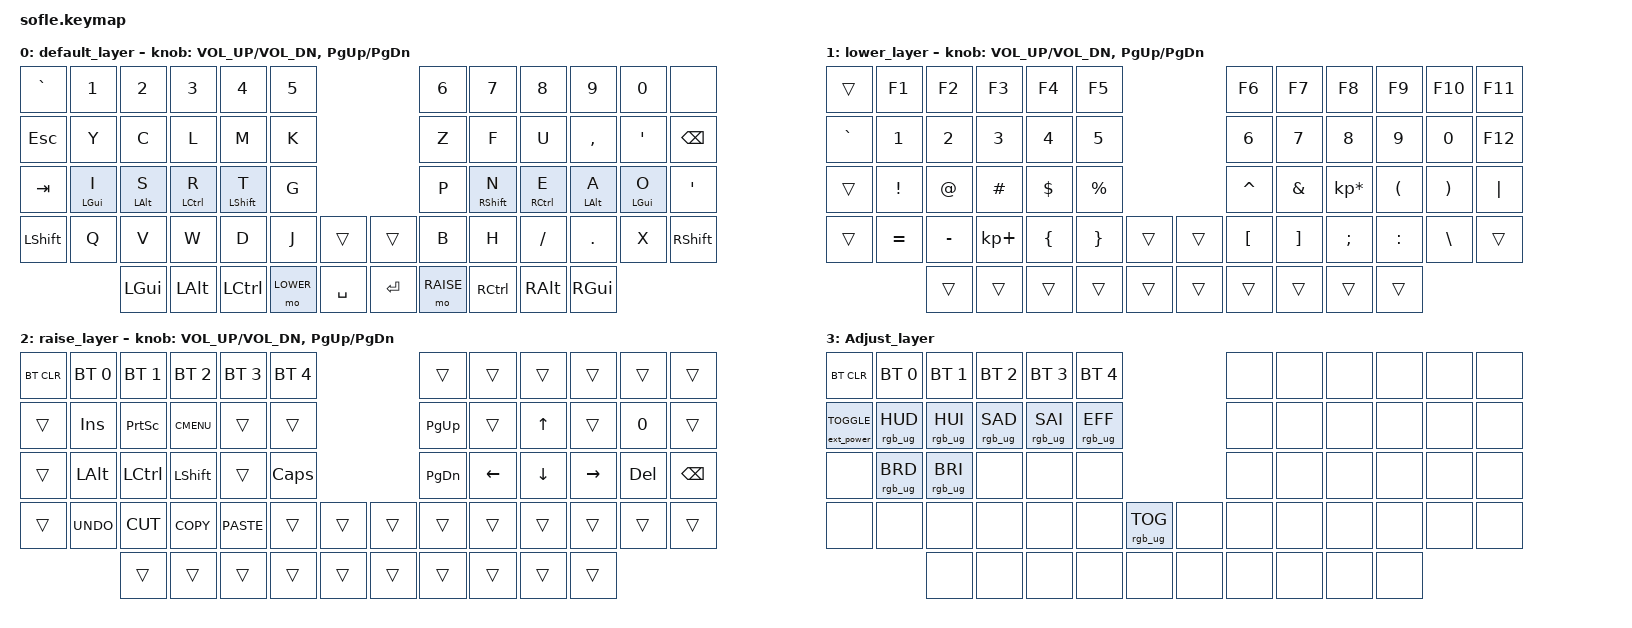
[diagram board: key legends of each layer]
/*
 * Copyright (c) 2020 The ZMK Contributors
 *
 * SPDX-License-Identifier: MIT
 */

#include <behaviors.dtsi>
#include <dt-bindings/zmk/keys.h>
#include <dt-bindings/zmk/bt.h>
#include <dt-bindings/zmk/rgb.h>
#include <dt-bindings/zmk/ext_power.h>

#define BASE 0
#define LOWER 1
#define RAISE 2
#define ADJUST 3

/ {

   // Activate ADJUST layer by pressing raise and lower
    conditional_layers {
        compatible = "zmk,conditional-layers";
        adjust_layer {
            if-layers = <LOWER RAISE>;
            then-layer = <ADJUST>;
        };
    };
    
    behaviors {
        hm: homerow_mods {
            compatible = "zmk,behavior-hold-tap";
            label = "homerow mods";
            #binding-cells = <2>;
            tapping_term_ms = <200>;
            flavor = "tap-preferred";
            bindings = <&kp>, <&kp>;
        };
    };

    keymap {
        compatible = "zmk,keymap";

        default_layer {
// ------------------------------------------------------------------------------------------------------------
// |  `    |  1  |  2  |  3   |  4   |  5   |                   |  6   |  7    |  8    |  9   |   0   |       |
// |  ESC  |  Q  |  W  |  E   |  R   |  T   |                   |  Y   |  U    |  I    |  O   |   P   | BKSPC |
// |  TAB  |  A  |  S  |  D   |  F   |  G   |                   |  H   |  J    |  K    |  L   |   ;   |   '   |
// | SHIFT |  Z  |  X  |  C   |  V   |  B   |  MUTE  |  |       |  N   |  M    |  ,    |  .   |   /   | SHIFT |
//               | GUI | ALT  | CTRL | LOWER|  ENTER |  | SPACE | RAISE| CTRL  | ALT   | GUI  |
            bindings = <
&kp GRAVE &kp N1      &kp N2     &kp N3      &kp N4         &kp N5                         &kp N6     &kp N7         &kp N8      &kp N9     &kp N0     &none
&kp ESC   &kp Y       &kp C      &kp L       &kp M          &kp K                          &kp Z      &kp F          &kp U       &kp COMMA  &kp SQT    &kp BSPC
&kp TAB   &hm LGUI I  &hm LALT S &hm LCTRL R &hm LSHFT T    &kp G                          &kp P      &hm RSHFT N    &hm RCTRL E &hm LALT A &hm LGUI O &kp SQT
&kp LSHFT &kp Q       &kp V      &kp W       &kp D          &kp J      &trans     &trans   &kp B      &kp H          &kp FSLH    &kp DOT    &kp X      &kp RSHFT
                      &kp LGUI   &kp LALT    &kp LCTRL      &mo LOWER  &kp SPACE  &kp RET  &mo RAISE  &kp RCTRL      &kp RALT    &kp RGUI
            >;

            sensor-bindings = <&inc_dec_kp C_VOL_UP C_VOL_DN &inc_dec_kp PG_UP PG_DN>;
        };

        lower_layer {
// TODO: Some binds are waiting for shifted keycode support.
// ------------------------------------------------------------------------------------------------------------
// |       |  F1 |  F2 |  F3  |  F4  |  F5  |                   |  F6  |  F7   |  F8   |  F9  |  F10  |  F11  |
// | `     |   1 |   2 |   3  |   4  |   5  |                   |   6  |   7   |   8   |   9  |    0  |  F12  |
// |       |  !  |  @  |  #   |  $   |  %   |                   |  ^   |  &    |  *    |  (   |   )   |   |   |
// |       |  =  |  -  |  +   |  {   |  }   |        |  |       |  [   |  ]    |  ;    |  :   |   \   |       |
//               |     |      |      |      |        |  |       |      |       |       |      |
            bindings = <
&trans    &kp F1    &kp F2    &kp F3      &kp F4    &kp F5                    &kp F6    &kp F7   &kp F8          &kp F9    &kp F10   &kp F11
&kp GRAVE &kp N1    &kp N2    &kp N3      &kp N4    &kp N5                    &kp N6    &kp N7   &kp N8          &kp N9    &kp N0    &kp F12
&trans    &kp EXCL  &kp AT    &kp HASH    &kp DLLR  &kp PRCNT                 &kp CARET &kp AMPS &kp KP_MULTIPLY &kp LPAR  &kp RPAR  &kp PIPE
&trans    &kp EQUAL &kp MINUS &kp KP_PLUS &kp LBRC  &kp RBRC  &trans   &trans &kp LBKT  &kp RBKT &kp SEMI        &kp COLON &kp BSLH  &trans
                    &trans    &trans      &trans    &trans    &trans   &trans &trans    &trans   &trans          &trans
            >;

            sensor-bindings = <&inc_dec_kp C_VOL_UP C_VOL_DN &inc_dec_kp PG_UP PG_DN>;
        };

        raise_layer {
// ------------------------------------------------------------------------------------------------------------
// |BTCLR| BT1  | BT2  |  BT3  |  BT4  |  BT5 |                |      |      |       |      |       |       |
// |     | INS  | PSCR | GUI   |       |      |                | PGUP |      |   ^   |      |       |       |
// |     | ALT  | CTRL | SHIFT |       | CAPS |                | PGDN |   <- |   v   |  ->  |  DEL  | BKSPC |
// |     | UNDO | CUT  | COPY  | PASTE |      |      |  |      |      |      |       |      |       |       |
//              |      |       |       |      |      |  |      |      |      |       |      |
            bindings = <
&bt BT_CLR &bt BT_SEL 0 &bt BT_SEL 1 &bt BT_SEL 2 &bt BT_SEL 3 &bt BT_SEL 4             &trans    &trans    &trans   &trans    &trans  &trans
&trans     &kp INS      &kp PSCRN    &kp K_CMENU  &trans       &trans                   &kp PG_UP &trans    &kp UP   &trans    &kp N0  &trans
&trans     &kp LALT     &kp LCTRL    &kp LSHFT    &trans       &kp CLCK                 &kp PG_DN &kp LEFT  &kp DOWN &kp RIGHT &kp DEL &kp BSPC
&trans     &kp K_UNDO   &kp K_CUT    &kp K_COPY   &kp K_PASTE  &trans  &trans   &trans  &trans    &trans    &trans   &trans    &trans  &trans
                        &trans       &trans       &trans       &trans  &trans   &trans  &trans    &trans    &trans   &trans
            >;

            sensor-bindings = <&inc_dec_kp C_VOL_UP C_VOL_DN &inc_dec_kp PG_UP PG_DN>;
        };

// ------------------------------------------------------------------------------------------------------------
// |BTCLR | BT1   | BT2   |  BT3  |  BT4  |  BT5  |                |      |      |       |      |       |       |
// |EXTPWR|RGB_HUD|RGB_HUI|RGB_SAD|RGB_SAI|RGB_EFF|                |      |      |       |      |       |       |
// |      |RGB_BRD|RGB_BRI|       |       |       |                |      |      |       |      |       |       |
// |      |       |       |       |       |       |RGB_TOG| |      |      |      |       |      |       |       |
//                |       |       |       |       |       | |      |      |      |       |      |

        Adjust_layer {
        bindings = <
&bt BT_CLR                      &bt BT_SEL 0    &bt BT_SEL 1    &bt BT_SEL 2    &bt BT_SEL 3    &bt BT_SEL 4                                    &none &none &none &none &none &none
&ext_power EXT_POWER_TOGGLE_CMD &rgb_ug RGB_HUD &rgb_ug RGB_HUI &rgb_ug RGB_SAD &rgb_ug RGB_SAI &rgb_ug RGB_EFF                                 &none &none &none &none &none &none
&none                           &rgb_ug RGB_BRD &rgb_ug RGB_BRI &none           &none           &none                                           &none &none &none &none &none &none
&none                           &none           &none           &none           &none           &none               &rgb_ug RGB_TOG  &none      &none &none &none &none &none &none
                                                &none           &none           &none           &none               &none            &none      &none &none &none &none
        >;
        };

    };
};
